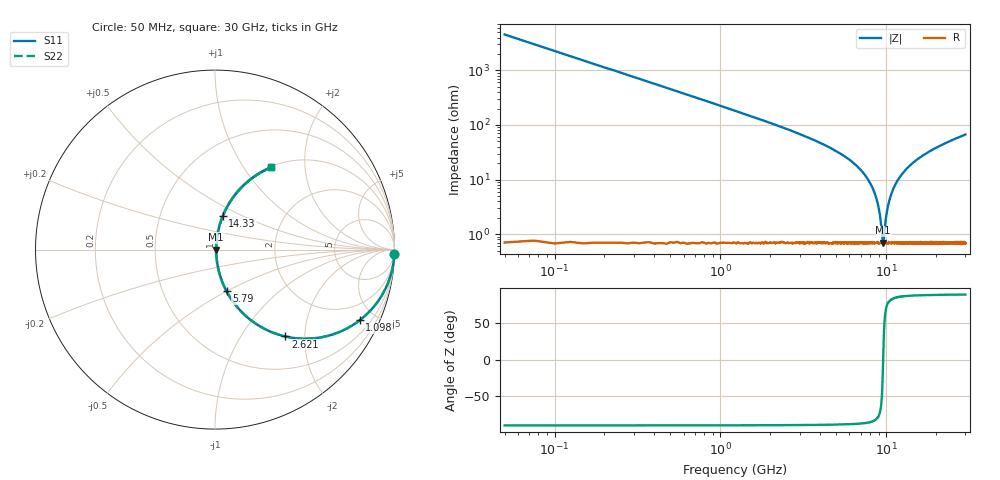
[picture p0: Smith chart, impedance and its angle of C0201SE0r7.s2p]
!	AVX Thin Film Operation 	Date: April 2014
!	Description: Accu-P® Series, Thin Film  SMD RF Capacitor
!	Part Number: 02015J0R7PBSTR
# MHZ S MA R 50
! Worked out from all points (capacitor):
!   1201 points, 50 MHz to 30 GHz, reference 50 ohm
!   read as one part in series: C = 700 fF near 199.8 MHz
!   lowest |Z| = 700 mohm at 9.584 GHz (marker M1)
!   series resonance near 9.576 GHz, so ESL is about 390 pH
!   S11 on the Smith chart (normalised r, x): 50 MHz: -0, -91; 1.098 GHz: 1.01, -4.09; 2.621 GHz: 1.01, -1.60; 5.79 GHz: 1.01, -0.50; 14.33 GHz: 1.01, +0.39; 30 GHz: 1.01, +1.34
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50  1 -1.3  0.022 88.7  0.022 88.7  1 -1.3
249.667  0.994 -6.3  0.109 83.7  0.109 83.7  0.994 -6.3
424.375  0.983 -10.6  0.184 79.3  0.184 79.3  0.983 -10.6
698.917  0.955 -17.2  0.295 72.7  0.295 72.7  0.955 -17.2
1098.25  0.897 -26.0  0.439 63.8  0.439 63.8  0.897 -26.0
1772.125  0.776 -38.8  0.626 50.9  0.626 50.9  0.776 -38.8
2620.708  0.623 -50.9  0.777 38.6  0.777 38.6  0.623 -50.9
5041.667  0.308 -70.8  0.945 17.9  0.945 17.9  0.308 -70.8
5790.417  0.24 -74.5  0.964 13.9  0.964 13.9  0.24 -74.5
7337.833  0.126 -79.7  0.985 7.2  0.985 7.2  0.126 -79.7
8386.083  0.063 -80.2  0.991 3.6  0.991 3.6  0.063 -80.2
8985.083  0.031 -75.4  0.993 1.7  0.993 1.7  0.031 -75.4
9459.292  0.008986 -39.7  0.993 0.3  0.993 0.3  0.008986 -39.7
9584.083  0.006895 3.3  0.993 -0.0  0.993 -0.0  0.006895 3.3
10058.29  0.024 72.1  0.993 -1.3  0.993 -1.3  0.024 72.1
10557.46  0.047 78.9  0.992 -2.6  0.992 -2.6  0.047 78.9
11381.08  0.082 80.5  0.99 -4.7  0.99 -4.7  0.082 80.5
14326.17  0.192 76.9  0.975 -11.0  0.975 -11.0  0.192 76.9
15025  0.215 75.8  0.97 -12.4  0.97 -12.4  0.215 75.8
20016.67  0.355 68.2  0.928 -20.8  0.928 -20.8  0.355 68.2
25033.29  0.466 61.5  0.879 -27.8  0.879 -27.8  0.466 61.5
30000  0.553 55.8  0.828 -33.6  0.828 -33.6  0.553 55.8
